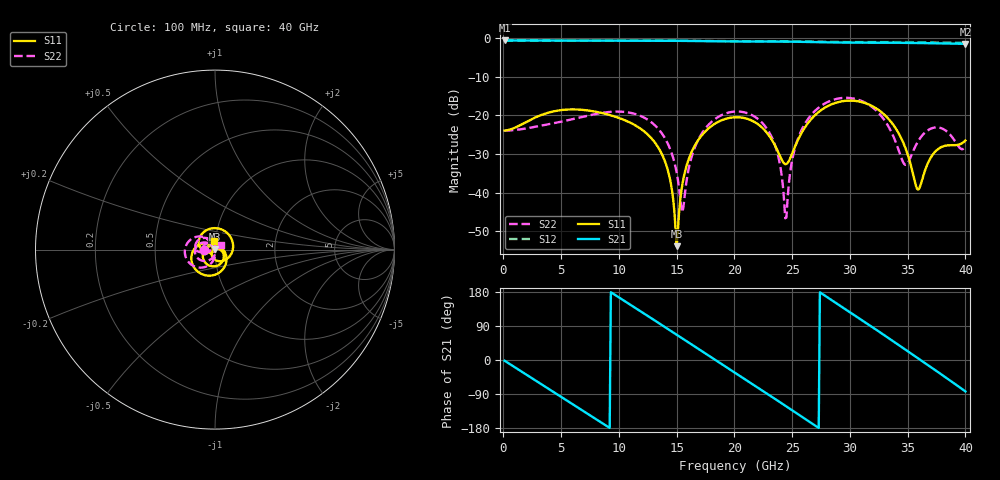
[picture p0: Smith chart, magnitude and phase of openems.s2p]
! X_s8x2_L1L3_bd_d200: L1→L3 back-drilled, drill Ø0.2, L2 plane removed: L3 exits above the top plane
! stackup: 8-layer 1.6 mm FR-4 without the L2 plane
! ports: 1, 2
! openEMS 0.37.0, staircase, fine mesh (dfine 0.0175 mm), 1400265 cells
# Hz S RI R 50
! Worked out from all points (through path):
!   400 points, 100 MHz to 40 GHz, reference 50 ohm
!   highest |S21| = -0.57 dB at 100 MHz (marker M1); lowest = -1.5 dB at 40 GHz (marker M2)
!   group delay of S21, straight-line fit = 55.5 ps
!   lowest |S11| = -53.9 dB at 15 GHz (marker M3), VSWR 1.00, Z = 49.9 + j0.178 ohm
!   |S11| at or under -10 dB: start of sweep to end of sweep
!   |S22| runs from -46.6 to -15.4 dB; largest |S21 - S12| = 0.026
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1e8  -0.0637 -0.000197  0.9354 -0.0318  0.9355 -0.0318  -0.0633 -0.000534
3.7e9  -0.088 0.06  0.2885 -0.889  0.289 -0.8893  -0.0747 -0.0132
6.8e9  0.0339 0.1133  -0.6283 -0.6875  -0.6289 -0.6888  -0.095 -0.0103
9.9e9  0.0908 -0.0236  -0.9048 0.2065  -0.9067 0.2066  -0.1083 0.0293
1.34e10  -0.0175 -0.0344  -0.1361 0.9178  -0.1379 0.9208  -0.0315 0.0594
1.45e10  -0.0116 -0.00599  0.2141 0.9018  0.2136 0.9062  -0.00388 0.0344
1.5e10  -0.000966 0.00178  0.3661 0.8505  0.3665 0.8553  0.00321 0.0178
1.55e10  0.0123 0.00424  0.5067 0.7735  0.5082 0.7786  0.00556 -0.000402
1.63e10  0.0335 -0.00403  0.6973 0.6034  0.7007 0.6081  -0.0015 -0.0293
1.82e10  0.0429 -0.0631  0.9128 0.0508  0.9196 0.052  -0.0593 -0.0637
2.01e10  -0.0201 -0.0925  0.7494 -0.5128  0.756 -0.5166  -0.1097 -0.0243
2.32e10  -0.0487 0.00804  -0.0987 -0.9007  -0.0984 -0.9108  -0.0396 0.0359
2.4e10  -0.0167 0.0232  -0.3454 -0.8366  -0.3483 -0.8472  -0.0132 0.016
2.44e10  0.00202 0.0233  -0.4596 -0.7787  -0.4643 -0.7892  -0.00462 0.000636
2.52e10  0.0373 0.00725  -0.6571 -0.617  -0.6655 -0.6262  -0.000876 -0.0358
2.67e10  0.0635 -0.0655  -0.8711 -0.1971  -0.8844 -0.2001  -0.0455 -0.0931
3.05e10  -0.1123 -0.1056  -0.3861 0.7867  -0.3922 0.8005  -0.1617 0.0214
3.34e10  -0.0833 0.029  0.481 0.7312  0.4911 0.7469  -0.0402 0.0563
3.48e10  -0.0282 0.0257  0.7732 0.4022  0.7918 0.4114  -0.022 0.00639
3.59e10  -0.0109 -0.000803  0.8642 0.0676  0.8862 0.0681  -0.0424 -0.0183
3.74e10  -0.0279 -0.0197  0.7662 -0.391  0.7857 -0.4032  -0.0699 0.000391
4e10  -0.00713 0.0467  0.1056 -0.8392  0.1074 -0.8649  0.0319 0.0237
